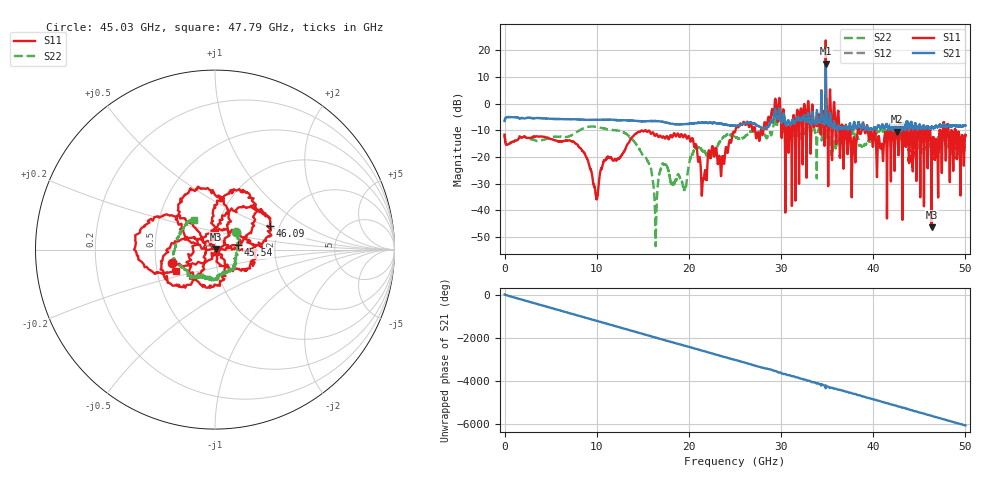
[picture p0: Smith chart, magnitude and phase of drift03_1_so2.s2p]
!Created with skrf (http://scikit-rf.org).
# Hz S RI R 50.0
!freq ReS11 ImS11 ReS21 ImS21 ReS12 ImS12 ReS22 ImS22
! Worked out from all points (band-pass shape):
!   10001 points, 300 kHz to 50 GHz, reference 50 ohm
!   highest |S21| = 14.96 dB at 34.85 GHz (marker M1); lowest = -10.5 dB at 42.56 GHz (marker M2)
!   |S21| within 3 dB of the highest: 34.84217 GHz to 34.85243 GHz (10.27 MHz wide, 0.0295 % of centre)
!   lowest |S11| = -46.4 dB at 46.33 GHz (marker M3), VSWR 1.01, Z = 50.3 + j0.375 ohm
!   |S11| at or under -10 dB: start of sweep to 15.23 GHz; 15.32 GHz to 25.05 GHz (9.738 GHz wide, 48.2 % of centre); 40.21 GHz to 41.7 GHz (1.485 GHz wide, 3.63 % of centre) (the widest 3 of 65)
!   |S22| runs from -53.4 to 6.6 dB; largest |S21 - S12| = 0.87
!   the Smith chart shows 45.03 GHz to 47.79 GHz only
!   S11 on the Smith chart (normalised r, x): 45.03 GHz: 0.61, -0.09; 45.54 GHz: 1.30, +0.07; 46.09 GHz: 1.79, +0.53; 47.79 GHz: 0.63, -0.16
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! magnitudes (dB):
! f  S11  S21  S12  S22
! 300 kHz  -11.6  -6.5  -6.5  -11.5
! 8.335 GHz  -17.1  -6.0  -6.0  -9.6
! 9.955 GHz  -35.6  -6.1  -6.1  -8.7
! 11.01 GHz  -21.0  -6.0  -6.1  -9.5
! 16.67 GHz  -12.4  -6.6  -6.5  -28.9
! 17.32 GHz  -12.7  -6.9  -7.0  -22.9
! 19.53 GHz  -11.8  -7.7  -7.7  -31.8
! 20.21 GHz  -14.0  -7.5  -7.5  -19.9
! 21.56 GHz  -28.3  -7.2  -7.2  -17.7
! 25 GHz  -10.6  -8.3  -8.3  -12.6
! 33.34 GHz  -3.8  -7.2  -7.1  -9.5
! 34.85 GHz  23.7  15.0  14.8  6.6
! 37.85 GHz  -13.3  -8.0  -8.0  -9.6
! 39.06 GHz  -10.1  -9.3  -9.5  -15.3
! 41.67 GHz  -10.4  -9.7  -9.6  -11.8
! 42.56 GHz  -8.6  -10.5  -10.5  -13.0
! 45.03 GHz  -12.0  -7.9  -8.0  -16.1
! 45.54 GHz  -17.5  -8.6  -8.6  -16.6
! 46.09 GHz  -9.5  -9.3  -9.3  -15.8
! 46.33 GHz  -46.4  -8.8  -8.7  -15.6
! 47.79 GHz  -12.1  -8.4  -8.4  -13.9
! 50 GHz  -11.6  -8.2  -8.3  -15.7
